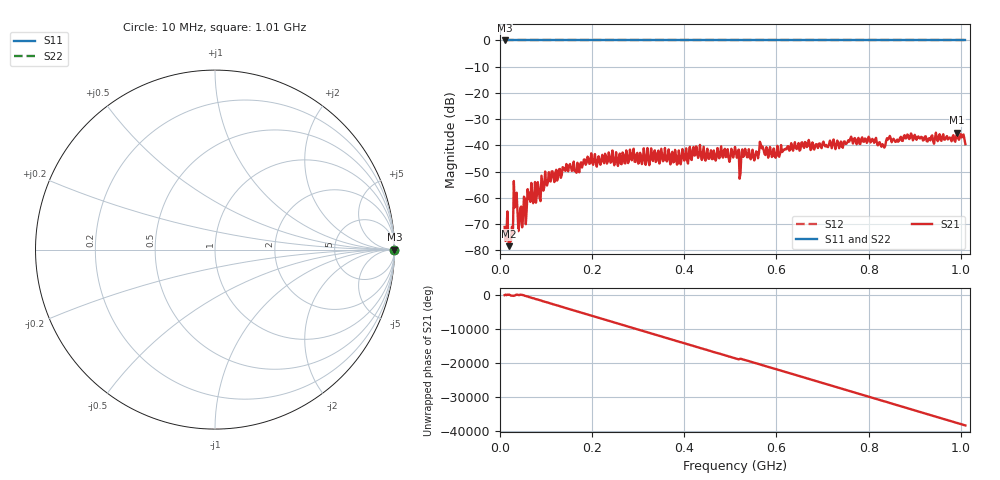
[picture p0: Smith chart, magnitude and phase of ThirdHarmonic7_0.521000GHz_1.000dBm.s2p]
! 8/17/2025 3:19:02 PM
! C:\ANRITSUVNA\TEMP\TEMP.S2P
! CHANNEL.1
! TR.MEASUREMENT
! RAW.DATA
! RF.CORRECTION.OFF
! AVERAGING.OFF
! IF.BANDWIDTH: 5KHZ
! SWEEPTYPE:  FREQ.SWEEP(Linear)
! Reference Plane Port Info
! PORT:  PORT1  PORT2
! DISTANCE:  0  m  0  m
! TIME:  0  s  0  s
! PHASE.OFFSET:  0  deg.  0  deg.
! LOSS:  0  dB  0  dB
! REF.LOSS:  0  dB  0  dB
! REF.FREQ:  0  Hz  0  Hz
! Power Info
! POWER:  -20  dBm  -20  dBm
! EFF.POWER:  -20  dBm  -20  dBm
! SOURCE.ATTEN:  0  dB  0  dB
! TEST.ATTEN:  0  dB  0  dB
# GHZ S RI R 50.0
! FREQ.GHZ  S11RE  S11IM  S21RE  S21IM  S12RE  S12IM  S22RE  S22IM
!; PortSelection: Port_12
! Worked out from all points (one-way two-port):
!   501 points, 10 MHz to 1.01 GHz, reference 50 ohm
!   highest |S21| = -35.15 dB at 992 MHz (marker M1); lowest = -78.5 dB at 20 MHz (marker M2)
!   lowest |S11| = 0.0 dB at 10 MHz (marker M3)
!   |S11| at or under -10 dB: nowhere
!   |S22| runs from 0.0 to 0.0 dB; largest |S21 - S12| = 1
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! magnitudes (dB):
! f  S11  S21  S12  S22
! 10 MHz  0.0  -71.1  0.0  0.0
! 20 MHz  0.0  -78.5  0.0  0.0
! 24 MHz  0.0  -76.4  0.0  0.0
! 34 MHz  0.0  -61.3  0.0  0.0
! 44 MHz  0.0  -63.8  0.0  0.0
! 64 MHz  0.0  -58.1  0.0  0.0
! 76 MHz  0.0  -54.0  0.0  0.0
! 110 MHz  0.0  -53.8  0.0  0.0
! 178 MHz  0.0  -48.4  0.0  0.0
! 344 MHz  0.0  -42.0  0.0  0.0
! 510 MHz  0.0  -40.6  0.0  0.0
! 518 MHz  0.0  -41.6  0.0  0.0
! 528 MHz  0.0  -44.4  0.0  0.0
! 556 MHz  0.0  -42.3  0.0  0.0
! 568 MHz  0.0  -41.1  0.0  0.0
! 594 MHz  0.0  -41.2  0.0  0.0
! 678 MHz  0.0  -38.9  0.0  0.0
! 766 MHz  0.0  -39.3  0.0  0.0
! 832 MHz  0.0  -40.1  0.0  0.0
! 844 MHz  0.0  -37.4  0.0  0.0
! 992 MHz  0.0  -35.2  0.0  0.0
! 1.01 GHz  0.0  -39.5  0.0  0.0
